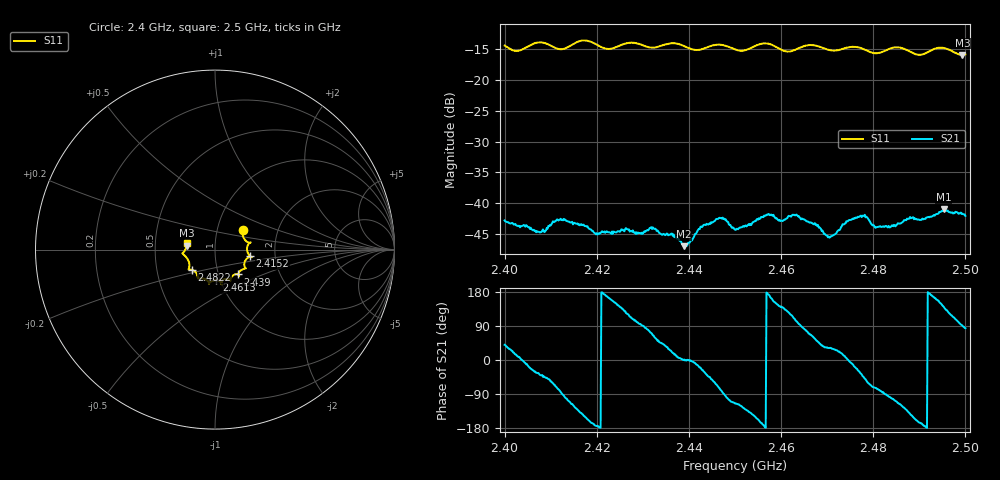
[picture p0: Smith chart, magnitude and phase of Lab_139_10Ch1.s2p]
# Hz S RI R 50
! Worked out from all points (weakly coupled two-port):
!   601 points, 2.4 GHz to 2.5 GHz, reference 50 ohm
!   highest |S21| = -41.03 dB at 2.4953 GHz (marker M1); lowest = -47.0 dB at 2.4388 GHz (marker M2)
!   lowest |S11| = -15.9 dB at 2.4993 GHz (marker M3), VSWR 1.38, Z = 36.3 + j1.63 ohm
!   |S11| at or under -10 dB: start of sweep to end of sweep
!   S12 and S22 are empty: the file has one direction only
!   S11 on the Smith chart (normalised r, x): 2.4 GHz: 1.33, +0.31; 2.4152 GHz: 1.48, -0.11; 2.439 GHz: 1.24, -0.36; 2.4613 GHz: 0.96, -0.34; 2.4822 GHz: 0.76, -0.17; 2.5 GHz: 0.73, +0.05
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2.4e9  0.1548 0.1115  0.00554 0.00466  0 0  0 0
2.402833e9  0.1597 0.0653  0.00643 0.00114  0 0  0 0
2.407333e9  0.1984 0.0393  0.00484 -0.0033  0 0  0 0
2.411667e9  0.1787 0.0113  0.00163 -0.00705  0 0  0 0
2.415167e9  0.1953 -0.0366  -0.00383 -0.00577  0 0  0 0
2.416667e9  0.2047 -0.0426  -0.00519 -0.00432  0 0  0 0
2.420167e9  0.1878 -0.0427  -0.00553 -0.000637  0 0  0 0
2.433333e9  0.1321 -0.1322  0.00367 0.00465  0 0  0 0
2.438833e9  0.1293 -0.139  0.00447 1.44e-05  0 0  0 0
2.439e9  0.1282 -0.1384  0.0045 9.66e-05  0 0  0 0
2.446333e9  0.0858 -0.174  0.00254 -0.007  0 0  0 0
2.45e9  0.0685 -0.1639  -0.00255 -0.00553  0 0  0 0
2.456667e9  0.039 -0.195  -0.00791 -0.000157  0 0  0 0
2.461333e9  0.00745 -0.1704  -0.0047 0.0059  0 0  0 0
2.466667e9  -0.0334 -0.1898  0.00301 0.00619  0 0  0 0
2.4705e9  -0.0476 -0.1688  0.00447 0.00276  0 0  0 0
2.477667e9  -0.0962 -0.1522  0.00586 -0.00531  0 0  0 0
2.482167e9  -0.1283 -0.1123  0.000556 -0.00646  0 0  0 0
2.483333e9  -0.1398 -0.1108  -0.000704 -0.00649  0 0  0 0
2.495333e9  -0.1811 -0.0198  -0.0068 0.00572  0 0  0 0
2.499333e9  -0.1587 0.0219  -0.000115 0.00824  0 0  0 0
2.5e9  -0.158 0.0341  0.000863 0.00783  0 0  0 0
